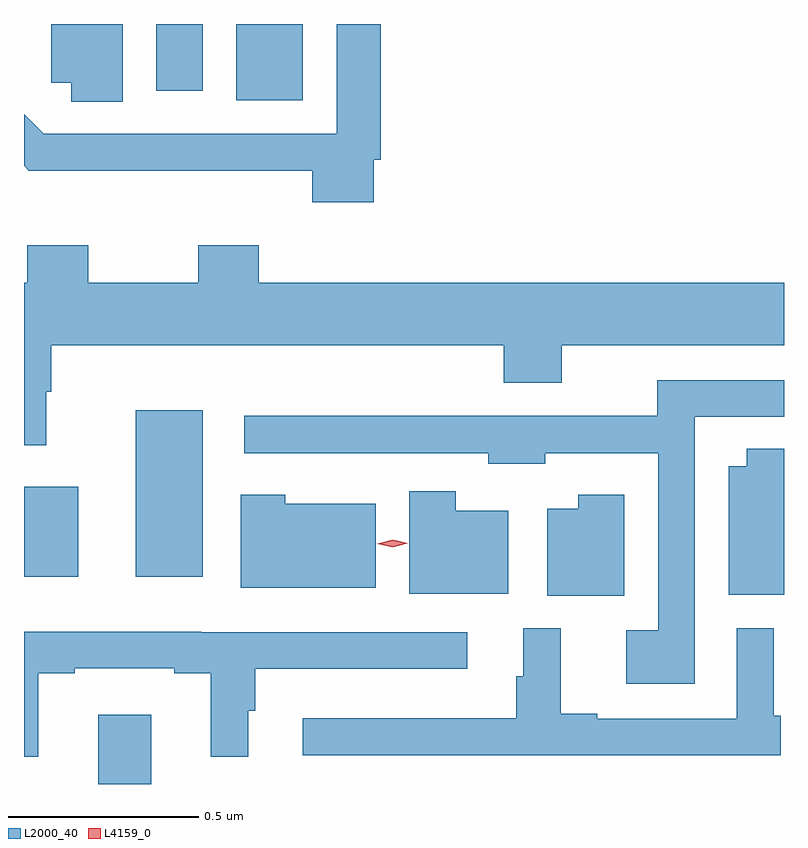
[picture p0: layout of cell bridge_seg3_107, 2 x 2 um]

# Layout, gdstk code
import gdstk
lib = gdstk.Library(unit=1e-6, precision=1e-09)
def R(c, l, rs):  # rectangles x0, y0, x1, y1
    for r in rs: c.add(gdstk.rectangle(r[:2], r[2:], *l))
def P(c, l, *ps):  # polygons
    for p in ps: c.add(gdstk.Polygon(p, *l))
L2000_40 = (2000, 40)
L4159_0 = (4159, 0)

bridge_seg3_107 = lib.new_cell('bridge_seg3_107')
R(bridge_seg3_107, L2000_40, [(639.179,714.413,639.319,714.595), (638.984,714.959,639.127,715.195), (639.278,714.959,639.454,715.396), (639.542,716.213,639.718,716.413), (639.332,716.238,639.454,716.413)])
P(bridge_seg3_107, L2000_40, [(639.244,716.413),(639.056,716.413),(639.056,716.259),(639.108,716.259),(639.108,716.209),(639.244,716.209)],
  [(639.904,716.056),(639.923,716.056),(639.923,716.413),(639.807,716.413),(639.807,716.124),(639.036,716.124),(638.984,716.176),(638.984,716.04),(638.997,716.027),(639.743,716.027),(639.743,715.944),(639.904,715.944)],
  [(639.043,715.445),(639.056,715.445),(639.056,715.568),(640.247,715.568),(640.247,715.469),(640.399,715.469),(640.399,715.568),(640.984,715.568),(640.984,715.732),(639.602,715.732),(639.602,715.831),(639.442,715.831),(639.442,715.732),(639.153,715.732),(639.153,715.831),(638.993,715.831),(638.993,715.732),(638.984,715.732),(638.984,715.305),(639.043,715.305)],
  [(640.749,715.379),(640.75,715.379),(640.75,715.38),(640.984,715.38),(640.984,715.476),(640.651,715.476),(640.651,715.382),(639.564,715.382),(639.564,715.283),(639.902,715.283),(639.902,715.284),(640.206,715.284),(640.206,715.256),(640.356,715.256),(640.356,715.284),(640.653,715.284),(640.653,714.817),(640.569,714.817),(640.569,714.677),(640.749,714.677)],
  [(640.984,715.295),(640.886,715.295),(640.886,715.249),(640.838,715.249),(640.838,714.911),(640.984,714.911)],
  [(640.258,715.132),(640.12,715.132),(640.12,715.183),(639.998,715.183),(639.998,714.914),(640.258,714.914)],
  [(640.564,715.174),(640.442,715.174),(640.442,715.138),(640.361,715.138),(640.361,714.908),(640.564,714.908)],
  [(639.91,715.15),(639.672,715.15),(639.672,715.174),(639.554,715.174),(639.554,714.929),(639.91,714.929)],
  [(640.976,714.592),(640.957,714.592),(640.957,714.823),(640.86,714.823),(640.86,714.585),(640.492,714.585),(640.492,714.598),(640.396,714.598),(640.396,714.823),(640.298,714.823),(640.298,714.696),(640.279,714.696),(640.279,714.586),(639.717,714.586),(639.717,714.489),(640.976,714.489)],
  [(639.022,714.705),(639.118,714.705),(639.118,714.717),(639.38,714.717),(639.38,714.705),(639.476,714.705),(639.476,714.485),(639.574,714.485),(639.574,714.606),(639.593,714.606),(639.593,714.716),(640.15,714.716),(640.15,714.813),(639.45,714.813),(639.45,714.814),(638.984,714.814),(638.984,714.485),(639.022,714.485)])
P(bridge_seg3_107, L4159_0, [(639.954,715.036),(639.914,715.045),(639.914,715.045),(639.914,715.045),(639.954,715.056),(639.994,715.046),(639.994,715.046),(639.994,715.046)])

lib.write_gds('bridge_seg3_107.gds')
